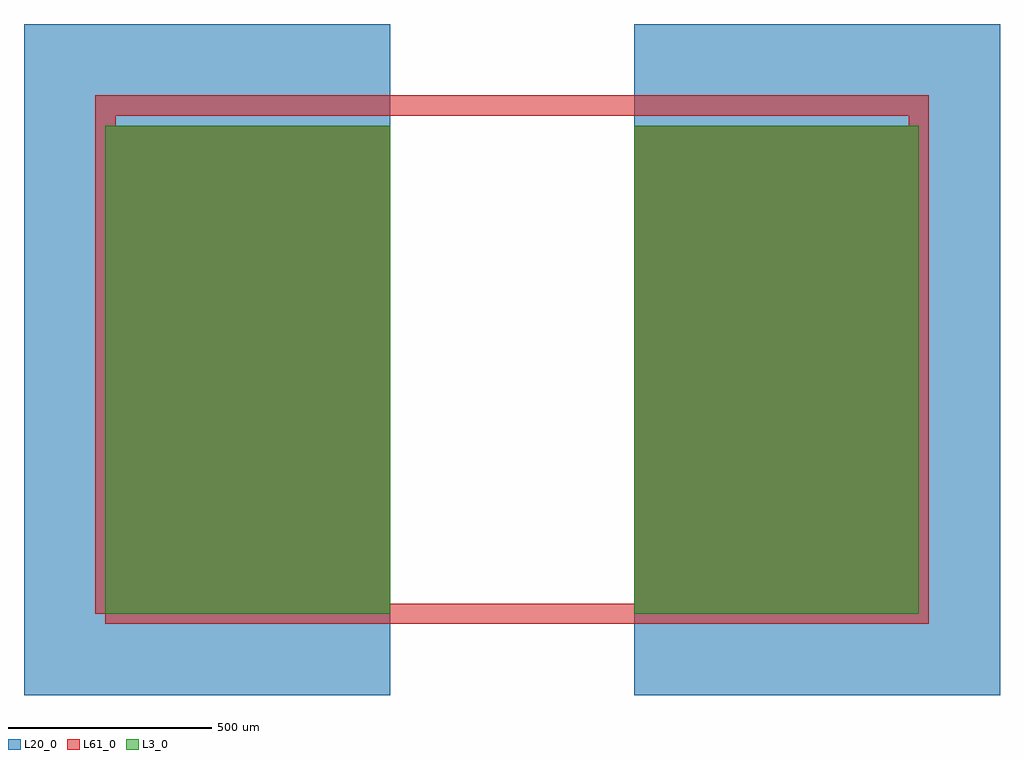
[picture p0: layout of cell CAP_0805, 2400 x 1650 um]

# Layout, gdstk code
import gdstk
lib = gdstk.Library(unit=1e-6, precision=1e-09)
def R(c, l, rs):  # rectangles x0, y0, x1, y1
    for r in rs: c.add(gdstk.rectangle(r[:2], r[2:], *l))
L3_0 = (3, 0)
L20_0 = (20, 0)
L61_0 = (61, 0)

cap_0805 = lib.new_cell('CAP_0805')
R(cap_0805, L3_0, [(0,0,700,1200), (1300,0,2000,1200)])
R(cap_0805, L20_0, [(-200,-200,700,1450), (1300,-200,2200,1450)])
R(cap_0805, L61_0, [(0,0,700,1200), (1300,0,2000,1200)])
cap_0805.add(gdstk.FlexPath([(0,0),(2000,0),(2000,1250),(0,1250),(0,0)], 50, ends="flush", simple_path=True, layer=61, datatype=0))  # L61_0

lib.write_gds('CAP_0805.gds')
